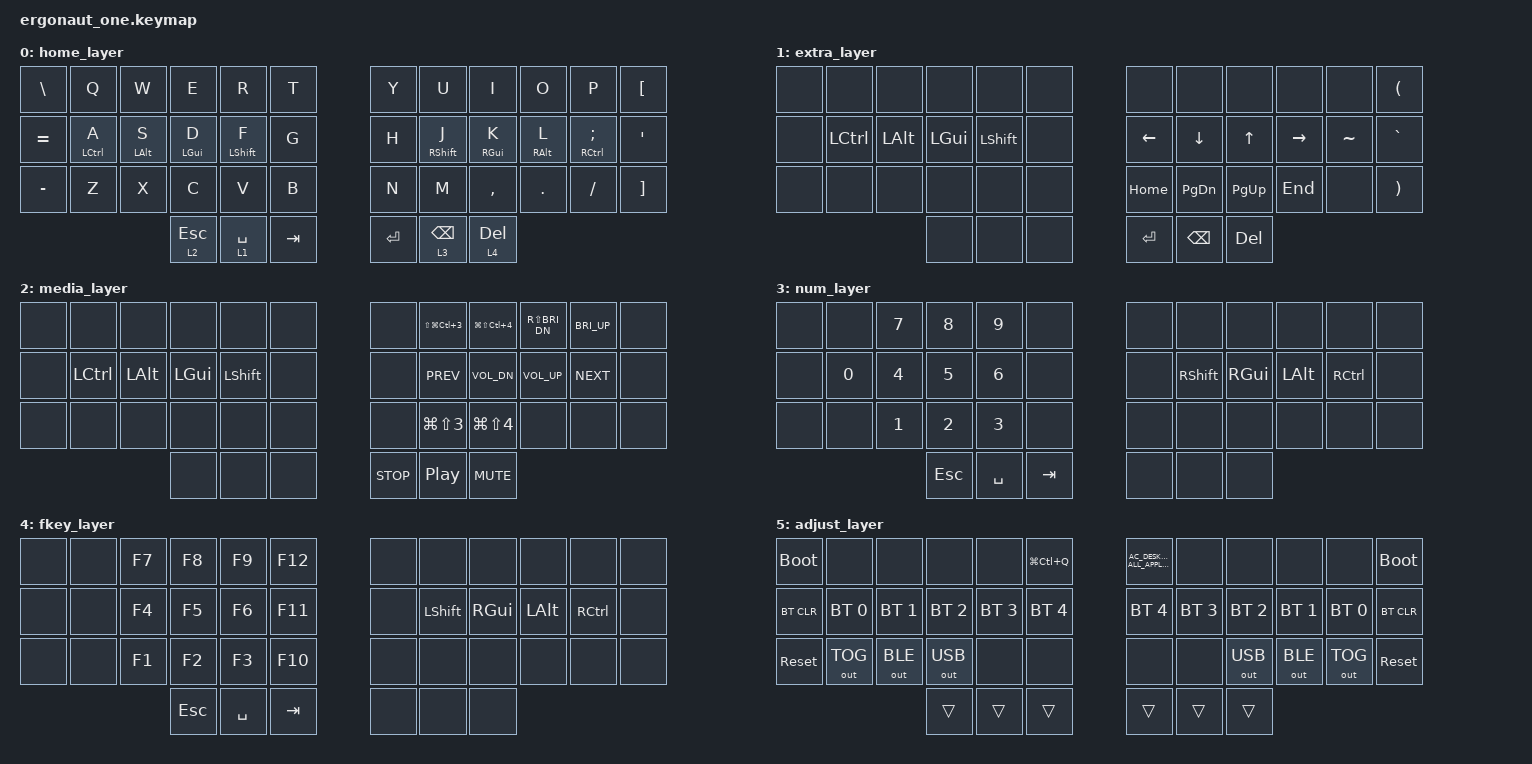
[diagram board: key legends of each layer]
#include <behaviors.dtsi>
#include <dt-bindings/zmk/bt.h>
#include <dt-bindings/zmk/keys.h>
#include <dt-bindings/zmk/outputs.h>

#define BASE 0
#define NAV 1
#define MOUSE 2
#define MEDIA 3
#define NUM 4
#define SYM 5
#define FUN 6
#define ADJ 7

&lt { quick-tap-ms = <200>; };

&mt { quick-tap-ms = <200>; };

&caps_word {
    /delete-property/ ignore-modifiers;

    continue-list = <UNDERSCORE MINUS BACKSPACE DELETE LSHFT RSHFT>;
};

/ {
    conditional_layers { compatible = "zmk,conditional-layers"; };

    behaviors {
        hmr: homerow_right {
            compatible = "zmk,behavior-hold-tap";
            label = "HOMEROW_MODS_RIGHT";
            #binding-cells = <2>;
            tapping-term-ms = <220>;
            flavor = "tap-preferred";
            bindings = <&kp>, <&kp>;
        };

        hml: homerow_left {
            compatible = "zmk,behavior-hold-tap";
            label = "HOMEROW_MODS_LEFT";
            #binding-cells = <2>;
            tapping-term-ms = <220>;
            flavor = "tap-preferred";
            bindings = <&kp>, <&kp>;
        };
    };

    combos {
        compatible = "zmk,combos";

        capsword {
            bindings = <&caps_word>;
            key-positions = <16 19>;
            layers = <0>;
        };

        excl {
            bindings = <&kp EXCL>;
            key-positions = <13 25>;
            layers = <0>;
        };

        at {
            bindings = <&kp AT>;
            key-positions = <14 26>;
            layers = <0>;
        };

        hash {
            bindings = <&kp HASH>;
            key-positions = <27 15>;
            layers = <0>;
        };

        dollar {
            bindings = <&kp DOLLAR>;
            key-positions = <16 28>;
            layers = <0>;
        };

        pct {
            bindings = <&kp PERCENT>;
            key-positions = <21 33>;
            layers = <0>;
        };

        caret {
            bindings = <&kp CARET>;
            key-positions = <22 34>;
            layers = <0>;
        };

        amps {
            bindings = <&kp AMPS>;
            key-positions = <19 31>;
            layers = <0>;
        };

        star {
            bindings = <&kp ASTRK>;
            key-positions = <20 32>;
            layers = <0>;
        };

        l-adjust {
            bindings = <&mo 5>;
            key-positions = <36 38>;
            layers = <0>;
        };

        r-adjust {
            bindings = <&mo 5>;
            key-positions = <39 41>;
            layers = <0>;
        };
    };

    keymap {
        compatible = "zmk,keymap";

        home_layer {
            bindings = <
&kp BACKSLASH  &kp Q         &kp W        &kp E        &kp R         &kp T    &kp Y      &kp U         &kp I        &kp O        &kp P            &kp LBKT
&kp EQUAL      &hml LCTRL A  &hml LALT S  &hml LGUI D  &hml LSHFT F  &kp G    &kp H      &hmr RSHFT J  &hmr RGUI K  &hmr RALT L  &hmr RCTRL SEMI  &kp SQT
&kp MINUS      &kp Z         &kp X        &kp C        &kp V         &kp B    &kp N      &kp M         &kp COMMA    &kp DOT      &kp FSLH         &kp RBKT
                                          &lt 2 ESC    &lt 1 SPACE   &kp TAB  &kp ENTER  &lt 3 BSPC    &lt 4 DEL
            >;
        };

        extra_layer {
            bindings = <
&none  &none      &none     &none     &none      &none  &none     &none      &none      &none      &none      &kp LPAR
&none  &kp LCTRL  &kp LALT  &kp LGUI  &kp LSHFT  &none  &kp LEFT  &kp DOWN   &kp UP     &kp RIGHT  &kp TILDE  &kp GRAVE
&none  &none      &none     &none     &none      &none  &kp HOME  &kp PG_DN  &kp PG_UP  &kp END    &none      &kp RPAR
                            &none     &none      &none  &kp RET   &kp BSPC   &kp DEL
            >;
        };

        media_layer {
            bindings = <
&none  &none      &none     &none     &none      &none  &none       &kp LS(LG(LC(N3)))  &kp LG(LS(LC(N4)))  &kp RS(C_BRI_DN)  &kp C_BRI_UP  &none
&none  &kp LCTRL  &kp LALT  &kp LGUI  &kp LSHFT  &none  &none       &kp C_PREV          &kp C_VOL_DN        &kp C_VOL_UP      &kp C_NEXT    &none
&none  &none      &none     &none     &none      &none  &none       &kp LG(LS(N3))      &kp LG(LS(N4))      &none             &none         &none
                            &none     &none      &none  &kp C_STOP  &kp C_PP            &kp K_MUTE
            >;
        };

        num_layer {
            bindings = <
&none  &none   &kp N7  &kp N8   &kp N9     &none    &none  &none      &none     &none     &none      &none
&none  &kp N0  &kp N4  &kp N5   &kp N6     &none    &none  &kp RSHFT  &kp RGUI  &kp LALT  &kp RCTRL  &none
&none  &none   &kp N1  &kp N2   &kp N3     &none    &none  &none      &none     &none     &none      &none
                       &kp ESC  &kp SPACE  &kp TAB  &none  &none      &none
            >;
        };

        fkey_layer {
            bindings = <
&none  &none  &kp F7  &kp F8   &kp F9     &kp F12  &none  &none      &none     &none     &none      &none
&none  &none  &kp F4  &kp F5   &kp F6     &kp F11  &none  &kp LSHFT  &kp RGUI  &kp LALT  &kp RCTRL  &none
&none  &none  &kp F1  &kp F2   &kp F3     &kp F10  &none  &none      &none     &none     &none      &none
                      &kp ESC  &kp SPACE  &kp TAB  &none  &none      &none
            >;
        };

        adjust_layer {
            bindings = <
&bootloader  &none         &none         &none         &none         &kp LG(LC(Q))  &kp C_AC_DESKTOP_SHOW_ALL_APPLICATIONS  &none         &none         &none         &none         &bootloader
&bt BT_CLR   &bt BT_SEL 0  &bt BT_SEL 1  &bt BT_SEL 2  &bt BT_SEL 3  &bt BT_SEL 4   &bt BT_SEL 4                            &bt BT_SEL 3  &bt BT_SEL 2  &bt BT_SEL 1  &bt BT_SEL 0  &bt BT_CLR
&sys_reset   &out OUT_TOG  &out OUT_BLE  &out OUT_USB  &none         &none          &none                                   &none         &out OUT_USB  &out OUT_BLE  &out OUT_TOG  &sys_reset
                                         &trans        &trans        &trans         &trans                                  &trans        &trans
            >;
        };
    };
};
